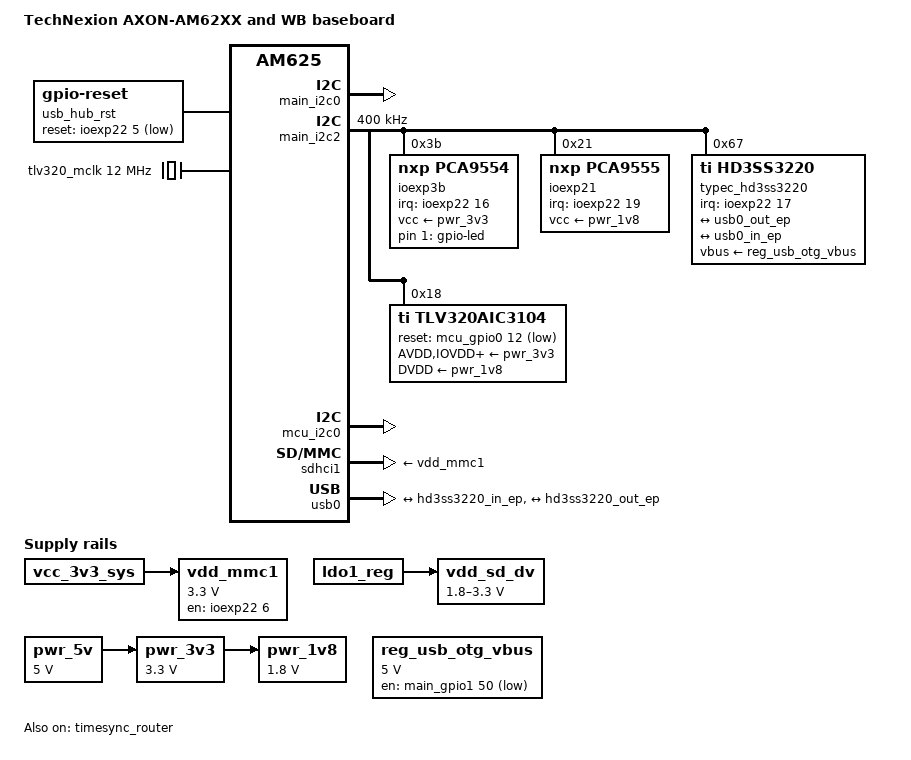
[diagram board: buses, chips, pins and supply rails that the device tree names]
// SPDX-License-Identifier: GPL-2.0-only OR MIT
/*
 * Copyright (C) 2024 TechNexion Ltd.
 *
 * Author: Ray Chang <ray.chang@technexion.com>
 *
 */

/dts-v1/;

#include "k3-am625-axon.dtsi"

/ {
	compatible =  "ti,am625-axon-wb", "ti,am625";
	model = "TechNexion AXON-AM62XX and WB baseboard";

	pwr_5v: regulator-7 {
		/* output of RT7298BHGQW */
		compatible = "regulator-fixed";
		regulator-name = "pwr_5v";
		regulator-min-microvolt = <5000000>;
		regulator-max-microvolt = <5000000>;
		regulator-always-on;
		regulator-boot-on;
	};

	pwr_3v3: regulator-8 {
		/* output of RT7298BHGQW */
		compatible = "regulator-fixed";
		regulator-name = "pwr_3v3";
		regulator-min-microvolt = <3300000>;
		regulator-max-microvolt = <3300000>;
		vin-supply = <&pwr_5v>;
		regulator-always-on;
		regulator-boot-on;
	};

	pwr_1v8: regulator-9 {
		/* output of RT8070ZQW */
		compatible = "regulator-fixed";
		regulator-name = "pwr_1v8";
		regulator-min-microvolt = <1800000>;
		regulator-max-microvolt = <1800000>;
		vin-supply = <&pwr_3v3>;
		regulator-always-on;
		regulator-boot-on;
	};

	vdd_mmc1: regulator-3 {
		/* Output of MIC94040 */
		compatible = "regulator-fixed";
		regulator-name = "vdd_mmc1";
		regulator-min-microvolt = <3300000>;
		regulator-max-microvolt = <3300000>;
		regulator-boot-on;
		enable-active-high;
		regulator-always-on;
		vin-supply = <&vcc_3v3_sys>;
		gpio = <&ioexp22 6 GPIO_ACTIVE_HIGH>;
	};

	vdd_sd_dv: gpio-regulator {
		compatible = "regulator-gpio";
		pinctrl-names = "default";
		pinctrl-0 = <&vdd_sd_dv_pins_default>;
		regulator-name = "tps65219-LDO1-SEL-SD";
		regulator-min-microvolt = <1800000>;
		regulator-max-microvolt = <3300000>;
		regulator-boot-on;
		vin-supply = <&ldo1_reg>;
		gpios = <&main_gpio0 31 GPIO_ACTIVE_HIGH>;
		states = <1800000 0x0>,
			 <3300000 0x1>;
	};

	reg_usb_otg_vbus: usb_otg_vbus {
		compatible = "regulator-fixed";
		pinctrl-names = "default";
		pinctrl-0 = <&usb0_pins_default>;
		regulator-name = "USB_OTG_PWR_EN";
		regulator-min-microvolt = <5000000>;
		regulator-max-microvolt = <5000000>;
		gpio = <&main_gpio1 50 GPIO_ACTIVE_LOW>;
		enable-active-low;
	};

	usb_hub_rst: usb_hub_rst {
		compatible = "gpio-reset";
		reset-gpios = <&ioexp22 5 GPIO_ACTIVE_LOW>;
		reset-delay-us = <10>;
		#reset-cells = <0>;
	};

	tlv320_mclk: clk-0 {
		#clock-cells = <0>;
		compatible = "fixed-clock";
		clock-frequency = <12000000>;
	};

	codec_audio: sound {
		compatible = "simple-audio-card";
		simple-audio-card,name = "tlv320aic3x-audio";
		simple-audio-card,widgets =
			"Headphone",	"Headphone Jack",
			"Microphone",	"Microphone Jack";
		simple-audio-card,routing =
			"Headphone Jack",	"HPLOUT",
			"Headphone Jack",	"HPROUT",
			"MIC2R",		"Microphone Jack",
			"Microphone Jack",	"Mic Bias";
		simple-audio-card,format = "dsp_b";
		simple-audio-card,bitclock-master = <&sound_master>;
		simple-audio-card,frame-master = <&sound_master>;
		simple-audio-card,bitclock-inversion;

		simple-audio-card,cpu {
			sound-dai = <&mcasp0>;
		};

		sound_master: simple-audio-card,codec {
			sound-dai = <&tlv320aic3104>;
			clocks = <&tlv320_mclk>;
		};
	};

	leds {
		compatible = "gpio-leds";

		led-0 {
			label = "gpio-led";
			gpios = <&ioexp3b 1 GPIO_ACTIVE_HIGH>;
			linux,default-trigger = "heartbeat";
			function = LED_FUNCTION_HEARTBEAT;
			default-state = "off";
		};
	};
};

/* I2C_A */
&main_i2c0 {
	status = "okay";
};

/* I2C_B */
&main_i2c2 {
	clock-frequency = <400000>;

	ioexp3b: pca9554@3b {
		compatible = "nxp,pca9554";
		reg = <0x3b>;
		vcc-supply = <&pwr_3v3>;
		interrupt-parent = <&ioexp22>;
		interrupts = <16 IRQ_TYPE_EDGE_FALLING>;
		gpio-controller;
		#gpio-cells = <2>;
		interrupt-controller;
		#interrupt-cells = <2>;
		gpio-line-names = "M2_DISABLE_N", "LED_EN",
				   "USB_OTG_OC", "EXT_GPIO8",
				   "EXT_GPIO9", "CSI1_PDB",
				   "AUD_A_SW", "PD_FAULT";
	};

	ioexp21: tca9555@21 {
		compatible = "nxp,pca9555";
		reg = <0x21>;
		vcc-supply = <&pwr_1v8>;
		interrupt-parent = <&ioexp22>;
		interrupts = <19 IRQ_TYPE_EDGE_FALLING>;
		gpio-controller;
		#gpio-cells = <2>;
		interrupt-controller;
		#interrupt-cells = <2>;
		gpio-line-names = "EXPOSURE_TRIG_IN1", "FLASH_OUT1",
				   "INFO_TRIG_IN1", "CAM_SHUTTER1",
				   "XVS1", "PWR1_TIME0",
				   "PWR1_TIME1", "PWR1_TIME2",
				   "", "",
				   "", "",
				   "", "",
				   "", "";
	};

	typec_hd3ss3220: hd3ss3220@67 {
		compatible = "ti,hd3ss3220";
		reg = <0x67>;
		interrupts-extended = <&ioexp22 17 IRQ_TYPE_LEVEL_LOW>;
		vbus-supply = <&reg_usb_otg_vbus>;

		ports {
			#address-cells = <1>;
			#size-cells = <0>;

			port@0 {
				reg = <0>;
				hd3ss3220_in_ep: endpoint {
					remote-endpoint = <&usb0_out_ep>;
				};
			};

			port@1 {
				reg = <1>;
				hd3ss3220_out_ep: endpoint {
					remote-endpoint = <&usb0_in_ep>;
				};
			};
		};
	};

	tlv320aic3104: audio-codec@18 {
		#sound-dai-cells = <0>;
		compatible = "ti,tlv320aic3104";
		reg = <0x18>;
		pinctrl-names = "default";
		pinctrl-0 = <&aud_rst_pins_default>;
		reset-gpios = <&mcu_gpio0 12 GPIO_ACTIVE_LOW>; /* AUD_RST, GPIO_X2_P18 */
		ai3x-ocmv = <0>;
		ai3x-micbias-vg = <1>;	/* 2.0V */

		/* Regulators */
		AVDD-supply = <&pwr_3v3>;
		IOVDD-supply = <&pwr_3v3>;
		DRVDD-supply = <&pwr_3v3>;
		DVDD-supply = <&pwr_1v8>;
	};
};

/* I2C_C */
&mcu_i2c0 {
	status = "okay";
};

/* SD card on baseboard */
&sdhci1 {
	status = "okay";
	vmmc-supply = <&vdd_mmc1>;
	vqmmc-supply = <&vdd_sd_dv>;
};

&usb0 {
	#address-cells = <1>;
	#size-cells = <0>;
	usb-role-switch;

	ports {
		#address-cells = <1>;
		#size-cells = <0>;

		port@0 {
			reg = <0>;
			usb0_out_ep: endpoint {
				remote-endpoint = <&hd3ss3220_in_ep>;
			};
		};

		port@1 {
			reg = <1>;
			usb0_in_ep: endpoint {
				remote-endpoint = <&hd3ss3220_out_ep>;
			};
		};
	};
};

#define K3_TS_OFFSET(pa, val)	(0x4+(pa)*4) (0x10000 | val)

&timesync_router {
	status = "okay";
	pinctrl-names = "default";
	pinctrl-0 = <&cpsw_cpts>;

	/* Use Time Sync Router to map GENF1 input to HW3_TS_PUSH output */
	cpsw_cpts: cpsw-cpts {
		pinctrl-single,pins = <
			/* pps [cpsw cpts genf1] in17 -> out12 [cpsw cpts hw3_push] */
			K3_TS_OFFSET(12, 17)
			>;
	};
};
